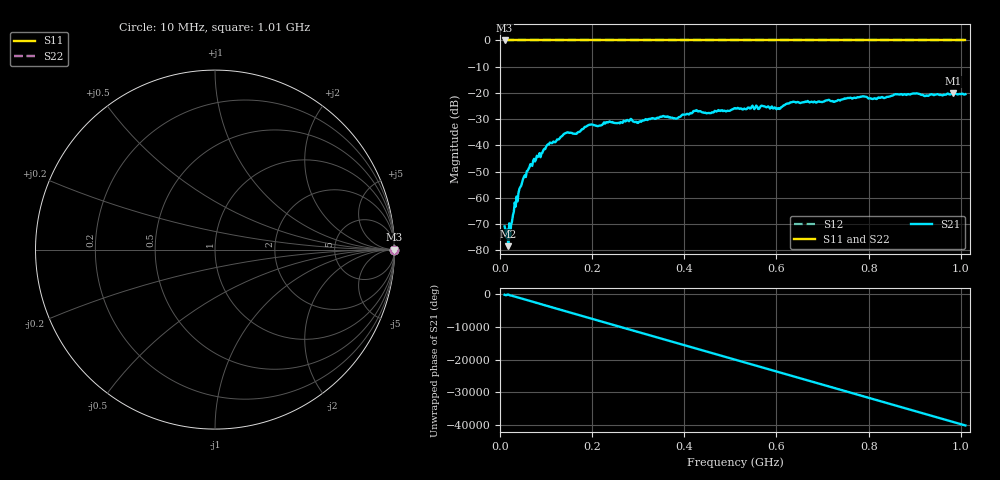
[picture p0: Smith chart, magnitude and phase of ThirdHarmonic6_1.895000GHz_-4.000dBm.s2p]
! 8/16/2025 10:52:32 PM
! C:\ANRITSUVNA\TEMP\TEMP.S2P
! CHANNEL.1
! TR.MEASUREMENT
! RAW.DATA
! RF.CORRECTION.OFF
! AVERAGING.OFF
! IF.BANDWIDTH: 5KHZ
! SWEEPTYPE:  FREQ.SWEEP(Linear)
! Reference Plane Port Info
! PORT:  PORT1  PORT2
! DISTANCE:  0  m  0  m
! TIME:  0  s  0  s
! PHASE.OFFSET:  0  deg.  0  deg.
! LOSS:  0  dB  0  dB
! REF.LOSS:  0  dB  0  dB
! REF.FREQ:  0  Hz  0  Hz
! Power Info
! POWER:  -20  dBm  -20  dBm
! EFF.POWER:  -20  dBm  -20  dBm
! SOURCE.ATTEN:  0  dB  0  dB
! TEST.ATTEN:  0  dB  0  dB
# GHZ S RI R 50.0
! FREQ.GHZ  S11RE  S11IM  S21RE  S21IM  S12RE  S12IM  S22RE  S22IM
!; PortSelection: Port_12
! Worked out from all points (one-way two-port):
!   501 points, 10 MHz to 1.01 GHz, reference 50 ohm
!   highest |S21| = -20.11 dB at 984 MHz (marker M1); lowest = -78.4 dB at 18 MHz (marker M2)
!   lowest |S11| = 0.0 dB at 10 MHz (marker M3)
!   |S11| at or under -10 dB: nowhere
!   |S22| runs from 0.0 to 0.0 dB; largest |S21 - S12| = 1.1
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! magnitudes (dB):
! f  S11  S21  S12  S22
! 10 MHz  0.0  -70.9  0.0  0.0
! 18 MHz  0.0  -78.4  0.0  0.0
! 22 MHz  0.0  -75.1  0.0  0.0
! 32 MHz  0.0  -61.8  0.0  0.0
! 46 MHz  0.0  -55.4  0.0  0.0
! 70 MHz  0.0  -47.8  0.0  0.0
! 106 MHz  0.0  -39.7  0.0  0.0
! 142 MHz  0.0  -35.4  0.0  0.0
! 164 MHz  0.0  -35.6  0.0  0.0
! 178 MHz  0.0  -33.8  0.0  0.0
! 196 MHz  0.0  -32.1  0.0  0.0
! 344 MHz  0.0  -29.6  0.0  0.0
! 382 MHz  0.0  -29.8  0.0  0.0
! 424 MHz  0.0  -26.8  0.0  0.0
! 454 MHz  0.0  -27.7  0.0  0.0
! 510 MHz  0.0  -25.8  0.0  0.0
! 604 MHz  0.0  -25.8  0.0  0.0
! 634 MHz  0.0  -23.5  0.0  0.0
! 678 MHz  0.0  -23.5  0.0  0.0
! 844 MHz  0.0  -21.4  0.0  0.0
! 984 MHz  0.0  -20.1  0.0  0.0
! 1.01 GHz  0.0  -20.5  0.0  0.0
